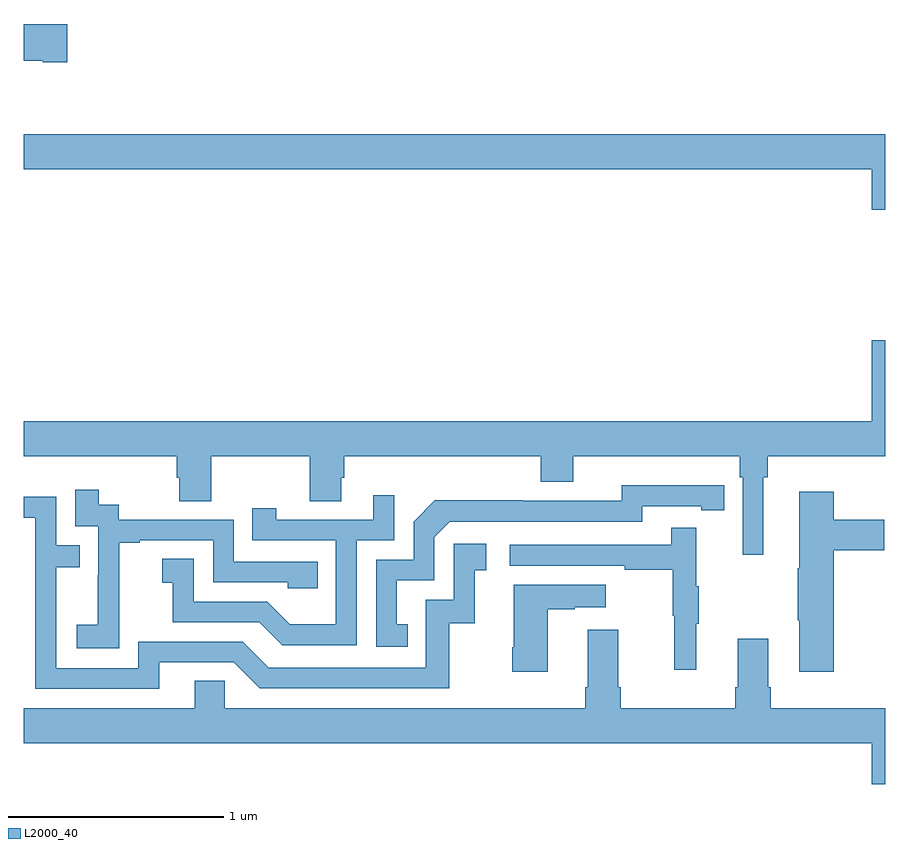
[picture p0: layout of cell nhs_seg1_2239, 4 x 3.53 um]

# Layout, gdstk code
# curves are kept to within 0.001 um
import gdstk
lib = gdstk.Library(unit=1e-6, precision=1e-09)
def P(c, l, *ps):  # polygons
    for p in ps: c.add(gdstk.Polygon(p, *l))
L2000_40 = (2000, 40)

nhs_seg1_2239 = lib.new_cell('nhs_seg1_2239')
P(nhs_seg1_2239, L2000_40, [(233.203,545.747),(233,545.747),(233,545.576),(233.09,545.576),(233.09,545.569),(233.203,545.569)],
  [(237,545.236),(233,545.236),(233,545.072),(236.936,545.072),(236.936,544.884),(237,544.884)],
  [(236.434,543.644),(236.453,543.644),(236.453,543.74),(237,543.74),(237,544.279),(236.936,544.279),(236.936,543.904),(233,543.904),(233,543.74),(233.711,543.74),(233.711,543.642),(233.723,543.642),(233.723,543.532),(233.871,543.532),(233.871,543.74),(234.328,543.74),(234.328,543.532),(234.475,543.532),(234.475,543.642),(234.488,543.642),(234.488,543.74),(235.4,543.74),(235.4,543.623),(235.552,543.623),(235.552,543.74),(236.324,543.74),(236.324,543.644),(236.337,543.644),(236.337,543.285),(236.434,543.285)],
  [(234.782,542.961),(234.733,542.961),(234.733,543.165),(234.906,543.165),(234.906,543.366),(234.978,543.438),(235.872,543.438),(235.872,543.51),(236.144,543.51),(236.144,543.49),(236.252,543.49),(236.252,543.606),(235.776,543.607),(235.776,543.534),(235.316,543.534),(235.316,543.536),(234.908,543.536),(234.81,543.438),(234.81,543.261),(234.636,543.261),(234.636,542.856),(234.782,542.856)],
  [(233.445,543.055),(233.444,543.055),(233.444,543.339),(233.539,543.339),(233.539,543.351),(233.88,543.351),(233.88,543.156),(234.225,543.156),(234.225,543.129),(234.365,543.129),(234.365,543.252),(233.976,543.252),(233.976,543.447),(233.442,543.447),(233.442,543.516),(233.35,543.516),(233.35,543.586),(233.241,543.586),(233.241,543.417),(233.346,543.417),(233.346,543.188),(233.345,543.188),(233.345,542.959),(233.247,542.959),(233.247,542.849),(233.445,542.849)],
  [(236.759,543.305),(236.995,543.305),(236.995,543.447),(236.759,543.447),(236.759,543.577),(236.6,543.577),(236.6,543.221),(236.593,543.221),(236.593,542.98),(236.6,542.98),(236.6,542.742),(236.759,542.742)],
  [(234.546,543.351),(234.72,543.351),(234.72,543.559),(234.623,543.559),(234.623,543.447),(234.172,543.447),(234.172,543.499),(234.061,543.499),(234.061,543.351),(234.45,543.351),(234.45,542.962),(234.236,542.962),(234.132,543.066),(233.79,543.066),(233.79,543.265),(233.643,543.265),(233.643,543.155),(233.692,543.155),(233.692,542.97),(234.095,542.97),(234.2,542.865),(234.546,542.865)],
  [(233.629,542.784),(233.976,542.784),(234.096,542.664),(234.976,542.664),(234.976,542.967),(235.094,542.967),(235.094,543.213),(235.147,543.213),(235.147,543.334),(234.996,543.334),(234.996,543.075),(234.867,543.075),(234.867,542.76),(234.138,542.76),(234.018,542.88),(233.532,542.88),(233.532,542.757),(233.151,542.757),(233.151,543.226),(233.261,543.226),(233.261,543.327),(233.151,543.327),(233.151,543.552),(233,543.552),(233,543.456),(233.055,543.456),(233.055,542.661),(233.629,542.661)],
  [(236.123,542.963),(236.134,542.963),(236.134,543.137),(236.123,543.137),(236.123,543.409),(236.005,543.409),(236.005,543.33),(235.257,543.33),(235.257,543.234),(235.789,543.234),(235.789,543.214),(236.013,543.214),(236.013,543),(236.02,543),(236.02,542.751),(236.123,542.751)],
  [(235.432,543.031),(235.559,543.031),(235.559,543.041),(235.702,543.041),(235.702,543.145),(235.274,543.145),(235.274,542.854),(235.267,542.854),(235.267,542.742),(235.432,542.742)],
  [(237,542.572),(236.468,542.572),(236.468,542.668),(236.455,542.668),(236.455,542.893),(236.315,542.893),(236.315,542.668),(236.303,542.668),(236.303,542.572),(235.772,542.572),(235.772,542.668),(235.759,542.668),(235.759,542.935),(235.619,542.935),(235.619,542.668),(235.607,542.668),(235.607,542.572),(233.934,542.572),(233.934,542.699),(233.795,542.699),(233.795,542.572),(233,542.572),(233,542.408),(236.936,542.408),(236.936,542.22),(237,542.22)])

lib.write_gds('nhs_seg1_2239.gds')
